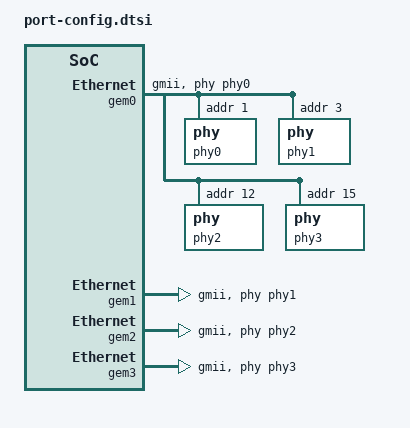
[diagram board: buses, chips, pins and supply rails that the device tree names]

&gem0 {
    local-mac-address = [00 0a 35 00 01 22];
    phy-handle = <&phy0>;
    phy-mode = "gmii";
    status = "okay";
    phy-reset-gpio = <&gpio 416 1>;
    phy-reset-active-low;
    phy0: phy@1 {
        device_type = "ethernet-phy";
        reg = <0x1>;
        ti,rx-internal-delay = <0x8>;
        ti,tx-internal-delay = <0xa>;
        ti,fifo-depth = <0x1>;
    };
    phy1: phy@3 {
        device_type = "ethernet-phy";
        reg = <0x3>;
        ti,rx-internal-delay = <0x8>;
        ti,tx-internal-delay = <0xa>;
        ti,fifo-depth = <0x1>;
    };
    phy2: phy@12 {
        device_type = "ethernet-phy";
        reg = <0xc>;
        ti,rx-internal-delay = <0x8>;
        ti,tx-internal-delay = <0xa>;
        ti,fifo-depth = <0x1>;
    };
    phy3: phy@15 {
        device_type = "ethernet-phy";
        reg = <0xf>;
        ti,rx-internal-delay = <0x8>;
        ti,tx-internal-delay = <0xa>;
        ti,fifo-depth = <0x1>;
        ti,dp83867-sgmii-autoneg-dis;
        ti,6-wire-mode;
    };
};  
  
&gem1 {
    local-mac-address = [00 0a 35 00 01 23];
    phy-handle = <&phy1>;
    phy-mode = "gmii";
    status = "okay";
    phy-reset-gpio = <&gpio 417 1>;
    phy-reset-active-low;
};  
  
&gem2 {
    local-mac-address = [00 0a 35 00 01 24];
    phy-handle = <&phy2>;
    phy-mode = "gmii";
    status = "okay";
    phy-reset-gpio = <&gpio 418 1>;
    phy-reset-active-low;
};  
  
&gem3 {
    local-mac-address = [00 0a 35 00 01 25];
    phy-handle = <&phy3>;
    phy-mode = "gmii";
    status = "okay";
    phy-reset-gpio = <&gpio 419 1>;
    phy-reset-active-low;
};  
  

